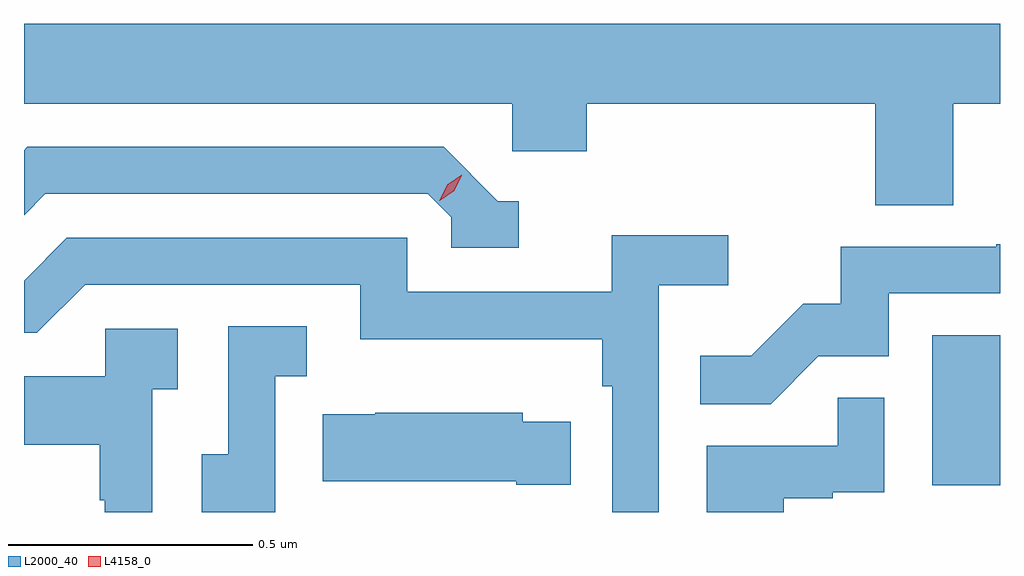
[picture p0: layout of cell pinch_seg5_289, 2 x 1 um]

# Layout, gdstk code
import gdstk
lib = gdstk.Library(unit=1e-6, precision=1e-09)
def R(c, l, rs):  # rectangles x0, y0, x1, y1
    for r in rs: c.add(gdstk.rectangle(r[:2], r[2:], *l))
def P(c, l, *ps):  # polygons
    for p in ps: c.add(gdstk.Polygon(p, *l))
L2000_40 = (2000, 40)
L4158_0 = (4158, 0)

pinch_seg5_289 = lib.new_cell('pinch_seg5_289')
R(pinch_seg5_289, L2000_40, [(907.064,905.262,907.203,905.569)])
P(pinch_seg5_289, L2000_40, [(907.107,906.044),(907.203,906.044),(907.203,906.208),(905.203,906.208),(905.203,906.044),(906.204,906.044),(906.204,905.946),(906.356,905.946),(906.356,906.044),(906.947,906.044),(906.947,905.836),(907.107,905.836)],
  [(906.217,905.844),(906.174,905.844),(906.063,905.955),(905.21,905.955),(905.203,905.948),(905.203,905.815),(905.247,905.859),(906.03,905.859),(906.078,905.811),(906.078,905.748),(906.217,905.748)],
  [(906.504,905.672),(906.646,905.672),(906.646,905.774),(906.407,905.774),(906.407,905.658),(905.988,905.658),(905.988,905.769),(905.291,905.769),(905.203,905.681),(905.203,905.574),(905.229,905.574),(905.328,905.673),(905.892,905.673),(905.892,905.561),(906.388,905.561),(906.388,905.465),(906.408,905.465),(906.408,905.206),(906.504,905.206)],
  [(906.831,905.526),(906.975,905.526),(906.975,905.655),(907.203,905.655),(907.203,905.756),(907.195,905.756),(907.195,905.751),(906.877,905.751),(906.877,905.634),(906.8,905.634),(906.693,905.527),(906.589,905.527),(906.589,905.428),(906.733,905.428)],
  [(905.718,905.485),(905.782,905.485),(905.782,905.588),(905.622,905.588),(905.622,905.325),(905.567,905.325),(905.567,905.206),(905.718,905.206)],
  [(905.466,905.459),(905.518,905.459),(905.518,905.583),(905.37,905.583),(905.37,905.485),(905.203,905.485),(905.203,905.345),(905.358,905.345),(905.358,905.231),(905.368,905.231),(905.368,905.206),(905.466,905.206)],
  [(906.76,905.235),(906.86,905.235),(906.86,905.247),(906.966,905.247),(906.966,905.441),(906.871,905.441),(906.871,905.343),(906.602,905.343),(906.602,905.206),(906.76,905.206)],
  [(906.323,905.392),(906.225,905.392),(906.225,905.41),(905.923,905.41),(905.923,905.407),(905.815,905.407),(905.815,905.27),(906.212,905.27),(906.212,905.263),(906.323,905.263)])
P(pinch_seg5_289, L4158_0, [(906.054,905.845),(906.054,905.845),(906.07,905.878),(906.1,905.898),(906.1,905.898),(906.1,905.897),(906.085,905.865),(906.055,905.845)])

lib.write_gds('pinch_seg5_289.gds')
